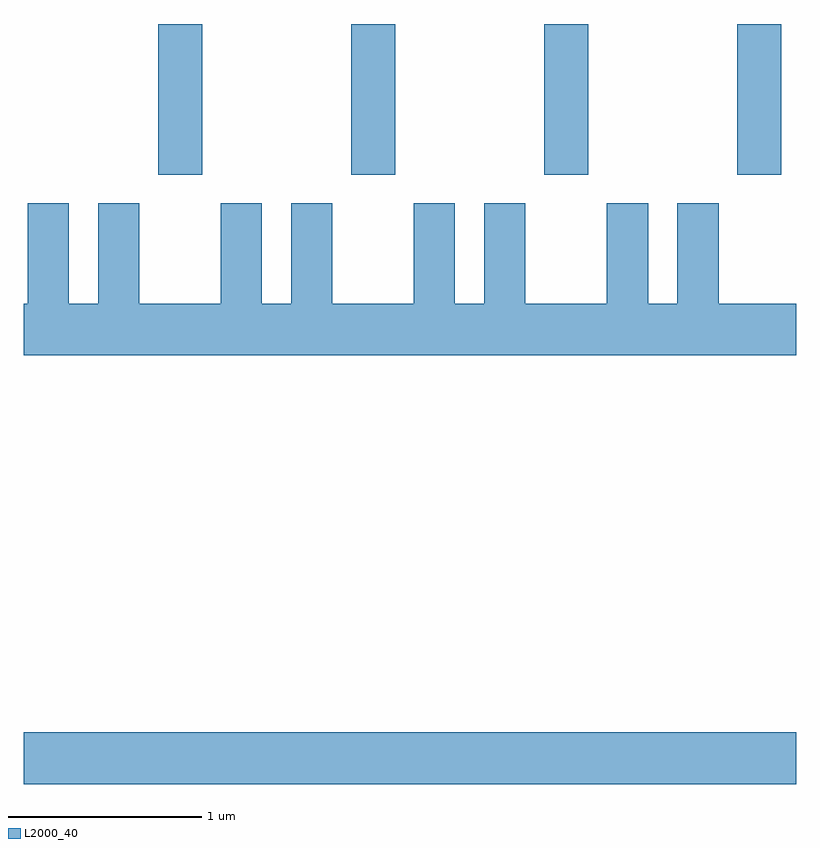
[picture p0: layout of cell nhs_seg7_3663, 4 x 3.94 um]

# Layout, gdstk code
import gdstk
lib = gdstk.Library(unit=1e-6, precision=1e-09)
def R(c, l, rs):  # rectangles x0, y0, x1, y1
    for r in rs: c.add(gdstk.rectangle(r[:2], r[2:], *l))
def A(c, l, x, y, w, h, nx, ny, dx, dy):  # array of equal rectangles
    R(c, l, [(x+i*dx, y+j*dy, x+i*dx+w, y+j*dy+h) for i in range(nx) for j in range(ny)])
def P(c, l, *ps):  # polygons
    for p in ps: c.add(gdstk.Polygon(p, *l))
L2000_40 = (2000, 40)

nhs_seg7_3663 = lib.new_cell('nhs_seg7_3663')
A(nhs_seg7_3663, L2000_40, 298.306, 1717.471, 0.228, 0.781, 4, 1, 1, 0)
R(nhs_seg7_3663, L2000_40, [(297.611,1714.316,301.611,1714.584)])
P(nhs_seg7_3663, L2000_40, [(301.611,1716.804),(301.209,1716.804),(301.209,1717.324),(300.996,1717.324),(300.996,1716.804),(300.844,1716.804),(300.844,1717.324),(300.631,1717.324),(300.631,1716.804),(300.209,1716.804),(300.209,1717.324),(299.996,1717.324),(299.996,1716.804),(299.844,1716.804),(299.844,1717.324),(299.631,1717.324),(299.631,1716.804),(299.209,1716.804),(299.209,1717.324),(298.996,1717.324),(298.996,1716.804),(298.844,1716.804),(298.844,1717.324),(298.631,1717.324),(298.631,1716.804),(298.209,1716.804),(298.209,1717.324),(297.996,1717.324),(297.996,1716.804),(297.844,1716.804),(297.844,1717.324),(297.631,1717.324),(297.631,1716.804),(297.611,1716.804),(297.611,1716.536),(301.611,1716.536)])

lib.write_gds('nhs_seg7_3663.gds')
